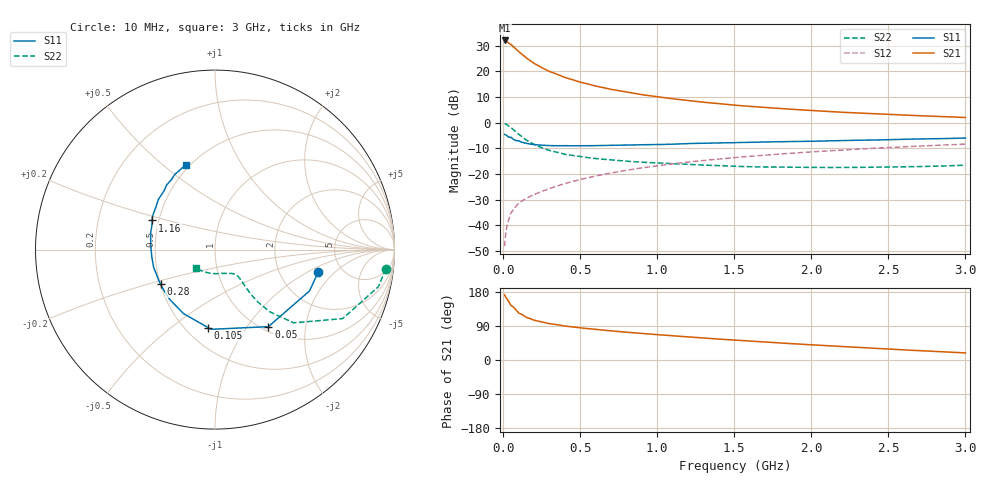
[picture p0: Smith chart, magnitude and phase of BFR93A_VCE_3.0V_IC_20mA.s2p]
! (c) 2015  Infineon Technologies AG, Munich
! Infineon Technologies  Discrete & RF Semiconductors
! BFR93A
! VCE =  3.0 V,  IC =  20 mA
! Common Emitter S-Parameters:  Nov 2015
# GHz  S  MA  R  50
!  f  S11  S21  S12  S22
! GHz  MAG  ANG  MAG  ANG  MAG  ANG  MAG  ANG
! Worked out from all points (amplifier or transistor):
!   180 points, 10 MHz to 3 GHz, reference 50 ohm
!   highest |S21| = 32.1 dB at 10 MHz (marker M1)
!   |S21| within 3 dB of that: start of sweep to 76.6 MHz
!   unconditionally stable (mu >= 1): 410 MHz to 2.962 GHz
!   at 160 MHz: K = 0.70, MSG = 27.1 dB, |S12| = -29.2 dB
!   at 1.22 GHz: K = 1.08, MAG = 10.2 dB, |S12| = -15.2 dB
!   at 3 GHz: K = 1.00, MSG = 5.2 dB, |S12| = -8.4 dB
!   S11 on the Smith chart (normalised r, x): 10 MHz: 3.36, -1.26; 50 MHz: 1.07, -1.27; 105 MHz: 0.64, -0.69; 280 MHz: 0.50, -0.22; 1.16 GHz: 0.46, +0.18; 3 GHz: 0.47, +0.60
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0.01  0.5893 -12.0  40.08 171.8  0.0039 85.3  0.9574 -6.5
0.02  0.5749 -23.6  39.03 164.3  0.0079 79.6  0.9336 -12.8
0.05  0.5221 -55.3  33.75 144.9  0.017 69.4  0.8085 -28.4
0.1  0.4446 -92.8  24.51 124.4  0.0266 61.7  0.5983 -43.0
0.105  0.4369 -94.9  23.85 123.5  0.0273 61.6  0.5843 -43.4
0.15  0.3974 -116.2  18.3 112.6  0.0333 60.5  0.4603 -48.7
0.2  0.3752 -132.0  14.42 105.2  0.0394 61.9  0.3773 -50.7
0.24  0.3648 -140.8  12.33 101.1  0.0443 62.8  0.3343 -51.1
0.26  0.3618 -144.6  11.46 99.2  0.0467 63.3  0.3163 -51.2
0.28  0.3591 -147.7  10.73 97.7  0.0492 63.9  0.302 -51.1
0.3  0.3574 -150.9  10 96.0  0.0516 64.4  0.2877 -51.0
0.4  0.3558 -163.8  7.621 89.6  0.0645 66.5  0.2418 -50.1
0.52  0.3543 -174.4  5.974 84.0  0.0803 67.3  0.2133 -49.3
0.6  0.3563 -179.8  5.185 80.6  0.0909 67.5  0.1991 -49.2
0.7  0.3598 174.5  4.471 76.7  0.1043 67.3  0.1873 -49.9
0.84  0.3664 168.0  3.768 72.0  0.123 66.7  0.1741 -51.6
1.02  0.3746 160.4  3.137 66.3  0.1467 65.2  0.1627 -54.8
1.16  0.3866 155.2  2.79 62.2  0.1652 63.8  0.155 -58.7
1.52  0.4063 143.9  2.167 52.0  0.2106 59.8  0.1406 -70.2
2.02  0.435 130.5  1.715 39.7  0.2712 54.0  0.1338 -89.8
2.52  0.468 119.7  1.439 28.5  0.3294 47.5  0.1363 -111.8
3  0.5007 109.1  1.261 18.7  0.3816 41.0  0.1484 -136.2
